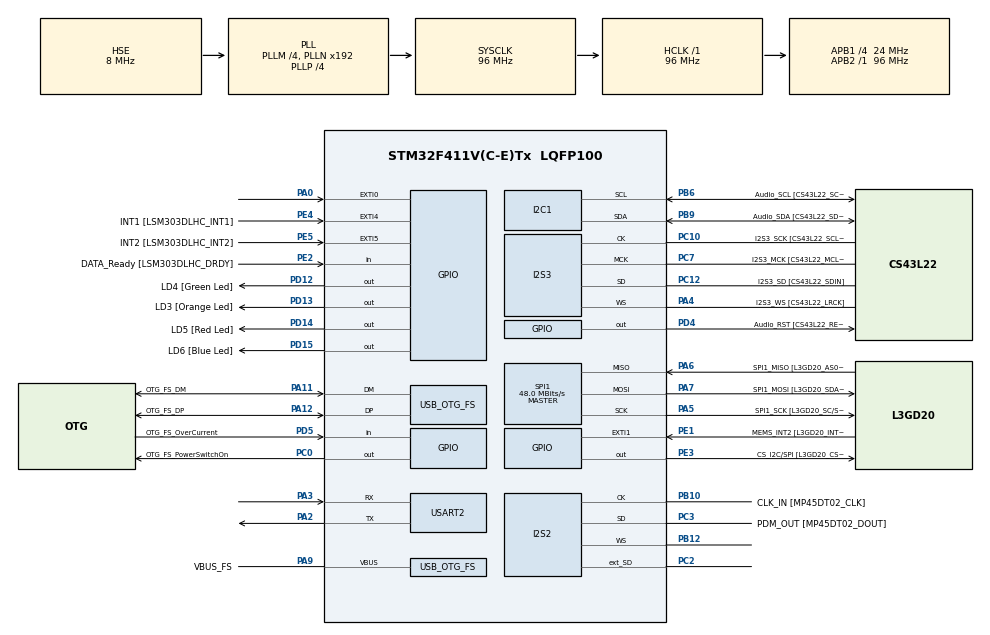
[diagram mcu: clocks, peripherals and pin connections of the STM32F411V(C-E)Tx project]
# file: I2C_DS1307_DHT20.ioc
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I2S2.AudioFreq=I2S_AUDIOFREQ_96K
I2S2.ErrorAudioFreq=0.15 %
I2S2.FullDuplexMode=I2S_FULLDUPLEXMODE_ENABLE
I2S2.Instance=SPI$Index
I2S2.RealAudioFreq=96.153 KHz
I2S2.VirtualMode=I2S_MODE_MASTER
I2S3.AudioFreq=I2S_AUDIOFREQ_96K
I2S3.ErrorAudioFreq=-6.99 %
I2S3.FullDuplexMode=I2S_FULLDUPLEXMODE_DISABLE
I2S3.Instance=SPI$Index
I2S3.RealAudioFreq=89.285 KHz
I2S3.VirtualMode=I2S_MODE_MASTER
Mcu.Family=STM32F4
Mcu.Name=STM32F411V(C-E)Tx
Mcu.Package=LQFP100
NVIC.OTG_FS_IRQn=true\:0\:0\:false\:false\:true\:true\:true\:true
NVIC.PriorityGroup=NVIC_PRIORITYGROUP_0
PA0-WKUP.GPIO_ModeDefaultEXTI=GPIO_MODE_EVT_RISING
PA0-WKUP.Signal=GPXTI0
PA10.GPIO_Label=OTG_FS_ID
PA10.Signal=USB_OTG_FS_ID
PA11.GPIO_Label=OTG_FS_DM
PA11.Mode=Host_Only
PA11.Signal=USB_OTG_FS_DM
PA12.GPIO_Label=OTG_FS_DP
PA12.Mode=Host_Only
PA12.Signal=USB_OTG_FS_DP
PA13.GPIO_Label=SWDIO
PA13.Mode=Serial_Wire
PA13.Signal=SYS_JTMS-SWDIO
PA14.GPIO_Label=SWCLK
PA14.Mode=Serial_Wire
PA14.Signal=SYS_JTCK-SWCLK
PA2.Mode=Asynchronous
PA2.Signal=USART2_TX
PA3.Mode=Asynchronous
PA3.Signal=USART2_RX
PA4.GPIO_Label=I2S3_WS [CS43L22_LRCK]
PA4.GPIO_Mode=GPIO_MODE_AF_PP
PA4.GPIO_PuPd=GPIO_NOPULL
PA4.GPIO_Speed=GPIO_SPEED_FREQ_LOW
PA4.Mode=Half_Duplex_Master
PA4.Signal=I2S3_WS
PA5.GPIO_Label=SPI1_SCK [L3GD20_SC/SPC]
PA5.Mode=Full_Duplex_Master
PA5.Signal=SPI1_SCK
PA6.GPIO_Label=SPI1_MISO [L3GD20_AS0/SDO]
PA6.Mode=Full_Duplex_Master
PA6.Signal=SPI1_MISO
PA7.GPIO_Label=SPI1_MOSI [L3GD20_SDA/SDI/SDO]
PA7.Mode=Full_Duplex_Master
PA7.Signal=SPI1_MOSI
PA9.GPIO_Label=VBUS_FS
PA9.Mode=Activate_VBUS
PA9.Signal=USB_OTG_FS_VBUS
PB10.GPIO_Label=CLK_IN [MP45DT02_CLK]
PB10.Mode=Full_Duplex_Master
PB10.Signal=I2S2_CK
PB12.Mode=Full_Duplex_Master
PB12.Signal=I2S2_WS
PB3.GPIO_Label=SWO
PB3.Signal=SYS_JTDO-SWO
PB6.GPIO_Label=Audio_SCL [CS43L22_SCL]
PB6.GPIO_Mode=GPIO_MODE_AF_OD
PB6.GPIO_Pu=GPIO_PULLUP
PB6.GPIO_PuPd=GPIO_NOPULL
PB6.GPIO_Speed=GPIO_SPEED_FREQ_LOW
PB6.Mode=I2C
PB6.Signal=I2C1_SCL
PB9.GPIO_Label=Audio_SDA [CS43L22_SDA]
PB9.GPIO_Mode=GPIO_MODE_AF_OD
PB9.GPIO_Pu=GPIO_PULLUP
PB9.GPIO_PuPd=GPIO_NOPULL
PB9.GPIO_Speed=GPIO_SPEED_FREQ_LOW
PB9.Mode=I2C
PB9.Signal=I2C1_SDA
PC0.GPIO_Label=OTG_FS_PowerSwitchOn
PC0.PinState=GPIO_PIN_SET
PC0.Signal=GPIO_Output
PC10.GPIO_Label=I2S3_SCK [CS43L22_SCLK]
PC10.GPIO_Mode=GPIO_MODE_AF_PP
PC10.GPIO_PuPd=GPIO_NOPULL
PC10.GPIO_Speed=GPIO_SPEED_FREQ_LOW
PC10.Mode=Half_Duplex_Master
PC10.Signal=I2S3_CK
PC12.GPIO_Label=I2S3_SD [CS43L22_SDIN]
PC12.GPIO_Mode=GPIO_MODE_AF_PP
PC12.GPIO_PuPd=GPIO_NOPULL
PC12.GPIO_Speed=GPIO_SPEED_FREQ_LOW
PC12.Mode=Half_Duplex_Master
PC12.Signal=I2S3_SD
PC14-OSC32_IN.GPIO_Label=PC14-OSC32_IN
PC14-OSC32_IN.Mode=LSE-External-Oscillator
PC14-OSC32_IN.Signal=RCC_OSC32_IN
PC15-OSC32_OUT.GPIO_Label=PC15-OSC32_OUT
PC15-OSC32_OUT.Mode=LSE-External-Oscillator
PC15-OSC32_OUT.Signal=RCC_OSC32_OUT
PC2.Mode=Full_Duplex_Master
PC2.Signal=I2S2_ext_SD
PC3.GPIO_Label=PDM_OUT [MP45DT02_DOUT]
PC3.Mode=Full_Duplex_Master
PC3.Signal=I2S2_SD
PC7.GPIO_Label=I2S3_MCK [CS43L22_MCLK]
PC7.GPIO_Mode=GPIO_MODE_AF_PP
PC7.GPIO_PuPd=GPIO_NOPULL
PC7.GPIO_Speed=GPIO_SPEED_FREQ_LOW
PC7.Mode=Master_Clock_Activated
PC7.Signal=I2S3_MCK
PD12.GPIO_Label=LD4 [Green Led]
PD12.GPIO_PuPd=GPIO_NOPULL
PD12.GPIO_Speed=GPIO_SPEED_FREQ_LOW
PD12.Signal=GPIO_Output
PD13.GPIO_Label=LD3 [Orange Led]
PD13.GPIO_PuPd=GPIO_NOPULL
PD13.GPIO_Speed=GPIO_SPEED_FREQ_LOW
PD13.Signal=GPIO_Output
PD14.GPIO_Label=LD5 [Red Led]
PD14.GPIO_PuPd=GPIO_NOPULL
PD14.GPIO_Speed=GPIO_SPEED_FREQ_LOW
PD14.Signal=GPIO_Output
PD15.GPIO_Label=LD6 [Blue Led]
PD15.GPIO_PuPd=GPIO_NOPULL
PD15.GPIO_Speed=GPIO_SPEED_FREQ_LOW
PD15.Signal=GPIO_Output
PD4.GPIO_Label=Audio_RST [CS43L22_RESET]
PD4.Signal=GPIO_Output
PD5.GPIO_Label=OTG_FS_OverCurrent
PD5.Signal=GPIO_Input
PE1.GPIO_Label=MEMS_INT2 [L3GD20_INT2]
PE1.GPIO_ModeDefaultEXTI=GPIO_MODE_EVT_RISING
PE1.Signal=GPXTI1
PE2.GPIO_Label=DATA_Ready [LSM303DLHC_DRDY]
PE2.Signal=GPIO_Input
PE3.GPIO_Label=CS_I2C/SPI [L3GD20_CS_I2C/SPI]
PE3.Signal=GPIO_Output
PE4.GPIO_Label=INT1 [LSM303DLHC_INT1]
PE4.GPIO_ModeDefaultEXTI=GPIO_MODE_EVT_RISING
PE4.Signal=GPXTI4
PE5.GPIO_Label=INT2 [LSM303DLHC_INT2]
PE5.GPIO_ModeDefaultEXTI=GPIO_MODE_EVT_RISING
PE5.Signal=GPXTI5
PH0\ -\ OSC_IN.GPIO_Label=PH0-OSC_IN
PH0\ -\ OSC_IN.Mode=HSE-External-Oscillator
PH0\ -\ OSC_IN.Signal=RCC_OSC_IN
PH1\ -\ OSC_OUT.GPIO_Label=PH1-OSC_OUT
PH1\ -\ OSC_OUT.Mode=HSE-External-Oscillator
PH1\ -\ OSC_OUT.Signal=RCC_OSC_OUT
ProjectManager.HeapSize=0x200
ProjectManager.StackSize=0x400
ProjectManager.TargetToolchain=Makefile
RCC.48MHZClocksFreq_Value=48000000
RCC.AHBFreq_Value=96000000
RCC.APB1CLKDivider=RCC_HCLK_DIV4
RCC.APB1Freq_Value=24000000
RCC.APB1TimFreq_Value=48000000
RCC.APB2Freq_Value=96000000
RCC.APB2TimFreq_Value=96000000
RCC.CortexFreq_Value=96000000
RCC.HCLKFreq_Value=96000000
RCC.HSE_VALUE=8000000
RCC.HSI_VALUE=16000000
RCC.PLLI2SM=5
RCC.PLLI2SN=200
RCC.PLLM=4
RCC.PLLP=RCC_PLLP_DIV4
RCC.PLLQ=8
RCC.SYSCLKFreq_VALUE=96000000
RCC.SYSCLKSource=RCC_SYSCLKSOURCE_PLLCLK
RCC.VCOOutputFreq_Value=384000000
SPI1.BaudRatePrescaler=SPI_BAUDRATEPRESCALER_2
SPI1.CalculateBaudRate=48.0 MBits/s
SPI1.Direction=SPI_DIRECTION_2LINES
SPI1.Mode=SPI_MODE_MASTER
SPI1.VirtualType=VM_MASTER
USART2.VirtualMode=VM_ASYNC
USB_HOST.BSP.number=1
USB_HOST.USBH_HandleTypeDef=hUsbHostFS
USB_HOST.VirtualModeFS=Cdc
USB_HOST0.BSP.STBoard=false
USB_HOST0.BSP.api=Unknown
USB_HOST0.BSP.instance=PC0
USB_HOST0.BSP.ip=GPIO
USB_HOST0.BSP.mode=Output
USB_HOST0.BSP.name=Drive_VBUS_FS
USB_HOST0.BSP.solution=PC0
USB_OTG_FS.VirtualMode=Host_Only
USB_OTG_FS.phy_itface=HCD_PHY_EMBEDDED
VP_USB_HOST_VS_USB_HOST_CDC_FS.Mode=CDC_FS
board=STM32F411E-DISCO

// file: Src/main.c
/* USER CODE BEGIN Header */
/**
  ******************************************************************************
  * @file           : main.c
  * @brief          : Main progrpm body
  ******************************************************************************
  * @attention
  *
  * Copyright (c) 2023 STMicroelectronics.
  * All rights reserved.
  *
  * This software is licensed under terms that can be found in the LICENSE file
  * in the root directory of this software component.
  * If no LICENSE file comes with this software, it is provided AS-IS.
  *
  ******************************************************************************
  */
/* USER CODE END Header */
#include "main.h"
#include "i2c.h"
#include "i2s.h"
#include "spi.h"
#include "usart.h"
#include "usb_host.h"
#include "gpio.h"
#include <stdio.h>
#include <string.h>

#include "ds1307.h"
#include "dht20.h"
#include "lcd1602_i2c.h"

// CONFIGURATION
#define SLAVE_ADDRESS_LCD 0x21 << 1     // Ohstem PCF8574T with AO=1, A1=0, A2=0 => 0x21. By default, the address is 0x27
#define SET_TIME 0                      // Set time to DS1307
#define DISPLAY 1                       // UART = 0, LCD = 1

DS1307_Time_t time;
const char weekday[7][10] = {"Sun", "Mon", "Tue", "Wed", "Thu", "Fri", "Sat"};
DHT20_Data_t dht20_data;
char debug_msg[50] = {};

void SystemClock_Config(void);
void PeriphCommonClock_Config(void);
void MX_USB_HOST_Process(void);

int main(void)
{

  /* MCU Configuration--------------------------------------------------------*/

  /* Reset of all peripherals, Initializes the Flash interface and the Systick. */
  HAL_Init();

  /* Configure the system clock */
  SystemClock_Config();

/* Configure the peripherals common clocks */
  PeriphCommonClock_Config();

  /* Initialize all configured peripherals */
  MX_GPIO_Init();
  MX_I2C1_Init();
  MX_I2S2_Init();
  MX_I2S3_Init();
  MX_SPI1_Init();
  MX_USB_HOST_Init();
  MX_USART2_UART_Init();

  /* USER CODE BEGIN 2 */
  #if SET_TIME == 1
    // Change time here
    time.year = 23;
    time.month = 8;
    time.date = 30;
    time.day = 4;
    time.hours = 6;
    time.minutes = 33;
    time.seconds = 40;
    time.mode12h = 1;
    time.pm = 1;

    // Write time to DS1307
    if (DS1307_WriteTime(&hi2c1, &time) == -1) {
      char error[] = "Error: Invalid time\r\n";
      HAL_UART_Transmit(&huart2, (uint8_t *)error, strlen(error), 100);
      return -1;
    }
  #endif

  int ret = DHT20_Init(&hi2c1);
  if (ret == HAL_ERROR)
    return -1;

  #if DISPLAY == 1 // LCD
    char msg[16];
    lcd_init(&hi2c1, SLAVE_ADDRESS_LCD);
  #endif

  /* USER CODE END 2 */

  /* Infinite loop */
  while (1)
  {
    MX_USB_HOST_Process();

    // DHT20
    dht20_data = DHT20_ReadData(&hi2c1);

    // DS1307
    DS1307_ReadTime(&hi2c1, &time);

    // Convert to string for printing only
    char hum_str[10];
    uint8_t hum_int = (uint8_t)dht20_data.humidity;
    uint8_t hum_dec = (uint8_t)((dht20_data.humidity - hum_int)*10);
    sprintf(hum_str, "%d.%1d", hum_int, hum_dec);
    char temp_str[10];
    uint8_t temp_int = (uint8_t)dht20_data.temperature;
    uint8_t temp_dec = (uint8_t)((dht20_data.temperature - temp_int)*10);
    sprintf(temp_str, "%d.%1d", temp_int, temp_dec);

    // #if DISPLAY == 0
      char uart_msg[80];
      sprintf(uart_msg, "%s %02d/%02d/20%02d - Time: %02d:%02d:%02d %s || Humidity: %s%% - Temperature: %soC \r\n",
        weekday[time.day-1] ,time.date, time.month, time.year, time.hours, time.minutes, time.seconds, (time.mode12h)==1 ? ((time.pm == 1) ? "pm" : "am") : "", hum_str, temp_str);
      HAL_UART_Transmit(&huart2, (uint8_t *)uart_msg, strlen(uart_msg), 100);
    // #else
      lcd_goto_XY(0, 0);
      // sprintf(msg, "%s %02d/%02d/%02d", weekday[time.day-1] ,time.date, time.month, time.year);
      sprintf(msg, "%02d/%01d  %02d:%02d:%02d%s", time.date, time.month, time.hours, time.minutes, time.seconds, (time.mode12h)==1 ? ((time.pm == 1) ? "pm" : "am") : "");
      lcd_send_string(msg);
      lcd_goto_XY(1, 0);
      sprintf(msg, "%s%% %soC", hum_str, temp_str);
      lcd_send_string(msg);
    // #endif

    HAL_GPIO_TogglePin(LD3_GPIO_Port, LD3_Pin); // Heartbeat decoration
    HAL_Delay(1000);
  }
}

void SystemClock_Config(void)
{
  RCC_OscInitTypeDef RCC_OscInitStruct = {0};
  RCC_ClkInitTypeDef RCC_ClkInitStruct = {0};

  /** Configure the main internal regulator output voltage
  */
  __HAL_RCC_PWR_CLK_ENABLE();
  __HAL_PWR_VOLTAGESCALING_CONFIG(PWR_REGULATOR_VOLTAGE_SCALE1);

  /** Initializes the RCC Oscillators according to the specified parpmeters
  * in the RCC_OscInitTypeDef structure.
  */
  RCC_OscInitStruct.OscillatorType = RCC_OSCILLATORTYPE_HSE;
  RCC_OscInitStruct.HSEState = RCC_HSE_ON;
  RCC_OscInitStruct.PLL.PLLState = RCC_PLL_ON;
  RCC_OscInitStruct.PLL.PLLSource = RCC_PLLSOURCE_HSE;
  RCC_OscInitStruct.PLL.PLLM = 4;
  RCC_OscInitStruct.PLL.PLLN = 192;
  RCC_OscInitStruct.PLL.PLLP = RCC_PLLP_DIV4;
  RCC_OscInitStruct.PLL.PLLQ = 8;
  if (HAL_RCC_OscConfig(&RCC_OscInitStruct) != HAL_OK)
  {
    Error_Handler();
  }

  /** Initializes the CPU, AHB and APB buses clocks
  */
  RCC_ClkInitStruct.ClockType = RCC_CLOCKTYPE_HCLK|RCC_CLOCKTYPE_SYSCLK
                              |RCC_CLOCKTYPE_PCLK1|RCC_CLOCKTYPE_PCLK2;
  RCC_ClkInitStruct.SYSCLKSource = RCC_SYSCLKSOURCE_PLLCLK;
  RCC_ClkInitStruct.AHBCLKDivider = RCC_SYSCLK_DIV1;
  RCC_ClkInitStruct.APB1CLKDivider = RCC_HCLK_DIV4;
  RCC_ClkInitStruct.APB2CLKDivider = RCC_HCLK_DIV1;

  if (HAL_RCC_ClockConfig(&RCC_ClkInitStruct, FLASH_LATENCY_3) != HAL_OK)
  {
    Error_Handler();
  }
}

void PeriphCommonClock_Config(void)
{
  RCC_PeriphCLKInitTypeDef PeriphClkInitStruct = {0};

  /** Initializes the peripherals clock
  */
  PeriphClkInitStruct.PeriphClockSelection = RCC_PERIPHCLK_I2S;
  PeriphClkInitStruct.PLLI2S.PLLI2SN = 200;
  PeriphClkInitStruct.PLLI2S.PLLI2SM = 5;
  PeriphClkInitStruct.PLLI2S.PLLI2SR = 2;
  if (HAL_RCCEx_PeriphCLKConfig(&PeriphClkInitStruct) != HAL_OK)
  {
    Error_Handler();
  }
}

void Error_Handler(void)
{
  __disable_irq();
  while (1)
  {
  }
}
